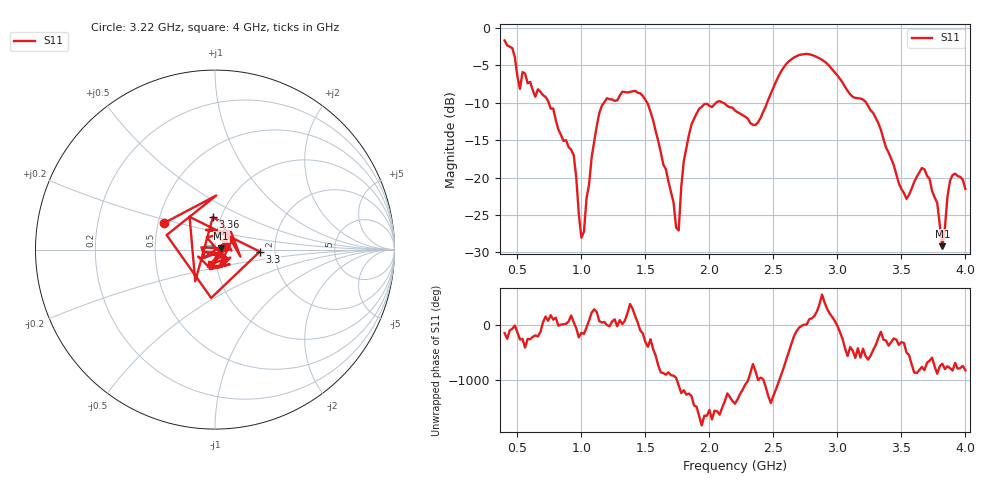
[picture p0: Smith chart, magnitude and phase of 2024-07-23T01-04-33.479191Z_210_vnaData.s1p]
!Created with skrf (http://scikit-rf.org).
# Hz S RI R 50.0
!freq ReS11 ImS11
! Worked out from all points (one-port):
!   181 points, 400 MHz to 4 GHz, reference 50 ohm
!   lowest |S11| = -29.2 dB at 3.82 GHz (marker M1), VSWR 1.07, Z = 53.5 + j0.833 ohm
!   |S11| at or under -10 dB: 744.8 MHz to 1.176 GHz (430.9 MHz wide, 44.9 % of centre); 1.514 GHz to 2.052 GHz (537.8 MHz wide, 30.2 % of centre); 3.225 GHz to end of sweep (the widest 3 of 4)
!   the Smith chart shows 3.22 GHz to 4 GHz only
!   S11 on the Smith chart (normalised r, x): 3.22 GHz: 0.53, +0.18; 3.3 GHz: 1.66, -0.04; 3.36 GHz: 0.92, +0.34; 4 GHz: 0.94, -0.15
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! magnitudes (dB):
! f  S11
! 400 MHz  -1.6
! 460 MHz  -2.7
! 520 MHz  -8.1
! 540 MHz  -5.9
! 720 MHz  -9.2
! 860 MHz  -15.1
! 940 MHz  -17.0
! 1 GHz  -28.1
! 1.14 GHz  -11.4
! 1.3 GHz  -9.0
! 1.52 GHz  -10.2
! 1.76 GHz  -27.1
! 1.8 GHz  -17.8
! 1.88 GHz  -12.1
! 2.2 GHz  -11.0
! 2.36 GHz  -13.0
! 2.66 GHz  -3.9
! 2.88 GHz  -4.2
! 3.1 GHz  -8.9
! 3.22 GHz  -9.9
! 3.3 GHz  -12.0
! 3.36 GHz  -14.9
! 3.56 GHz  -22.3
! 3.68 GHz  -18.9
! 3.78 GHz  -23.4
! 3.82 GHz  -29.2
! 3.88 GHz  -20.4
! 4 GHz  -21.5
